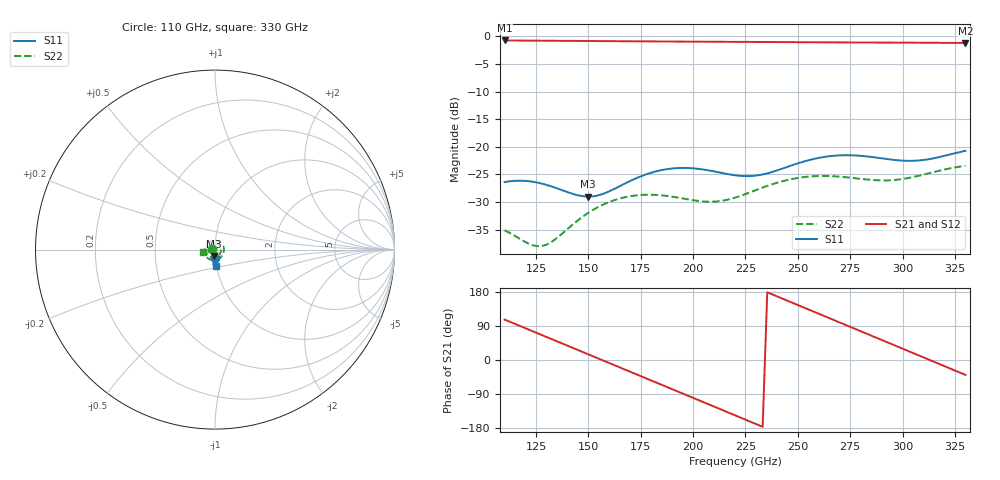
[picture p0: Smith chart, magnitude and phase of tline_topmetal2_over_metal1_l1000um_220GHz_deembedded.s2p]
! Created with skrf 2.0.1 (http://scikit-rf.org).
# GHz S DB R 50.0
!freq dBS11 angS11 dBS21 angS21 dBS12 angS12 dBS22 angS22
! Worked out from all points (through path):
!   101 points, 110 GHz to 330 GHz, reference 50 ohm
!   highest |S21| = -0.74 dB at 110 GHz (marker M1); lowest = -1.2 dB at 330 GHz (marker M2)
!   group delay of S21, straight-line fit = 6.39 ps
!   lowest |S11| = -29.0 dB at 149.6 GHz (marker M3), VSWR 1.07, Z = 49.3 - j3.44 ohm
!   |S11| at or under -10 dB: start of sweep to end of sweep
!   |S22| runs from -38.0 to -23.5 dB; largest |S21 - S12| = 1e-13
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110  -26.40 -92.1  -0.74 106.6  -0.74 106.6  -35.13 166.3
118.8  -26.16 -101.1  -0.76 86.5  -0.76 86.5  -37.02 121.2
127.6  -26.66 -108.0  -0.78 66.3  -0.78 66.3  -38.00 61.1
138.6  -28.02 -109.7  -0.81 41.1  -0.81 41.1  -35.37 -12.2
147.4  -28.97 -102.3  -0.83 20.8  -0.83 20.8  -32.64 -56.1
149.6  -29.03 -99.4  -0.83 15.8  -0.83 15.8  -32.06 -65.8
158.4  -28.32 -88.2  -0.86 -4.4  -0.86 -4.4  -30.25 -102.0
167.2  -26.71 -83.1  -0.88 -24.6  -0.88 -24.6  -29.16 -136.3
184.8  -24.24 -89.3  -0.92 -65.0  -0.92 -65.0  -28.79 153.4
193.6  -23.85 -95.0  -0.94 -85.2  -0.94 -85.2  -29.26 114.6
202.4  -24.00 -99.6  -0.96 -105.4  -0.96 -105.4  -29.81 71.3
220  -25.16 -98.7  -0.99 -145.9  -0.99 -145.9  -29.22 -23.7
228.8  -25.27 -92.2  -1.01 -166.1  -1.01 -166.1  -28.02 -68.0
237.6  -24.58 -85.9  -1.02 173.6  -1.02 173.6  -26.81 -108.2
246.4  -23.46 -83.5  -1.04 153.3  -1.04 153.3  -25.91 -145.8
257.4  -22.23 -85.7  -1.07 128.0  -1.07 128.0  -25.34 168.7
266.2  -21.67 -89.7  -1.09 107.8  -1.09 107.8  -25.33 131.7
275  -21.54 -93.9  -1.10 87.5  -1.10 87.5  -25.60 93.0
283.8  -21.78 -96.6  -1.11 67.3  -1.11 67.3  -25.96 51.4
294.8  -22.33 -96.2  -1.13 41.9  -1.13 41.9  -26.06 -4.1
312.4  -22.26 -87.7  -1.15 1.3  -1.15 1.3  -24.82 -91.8
330  -20.73 -84.9  -1.19 -39.3  -1.19 -39.3  -23.46 -169.9
